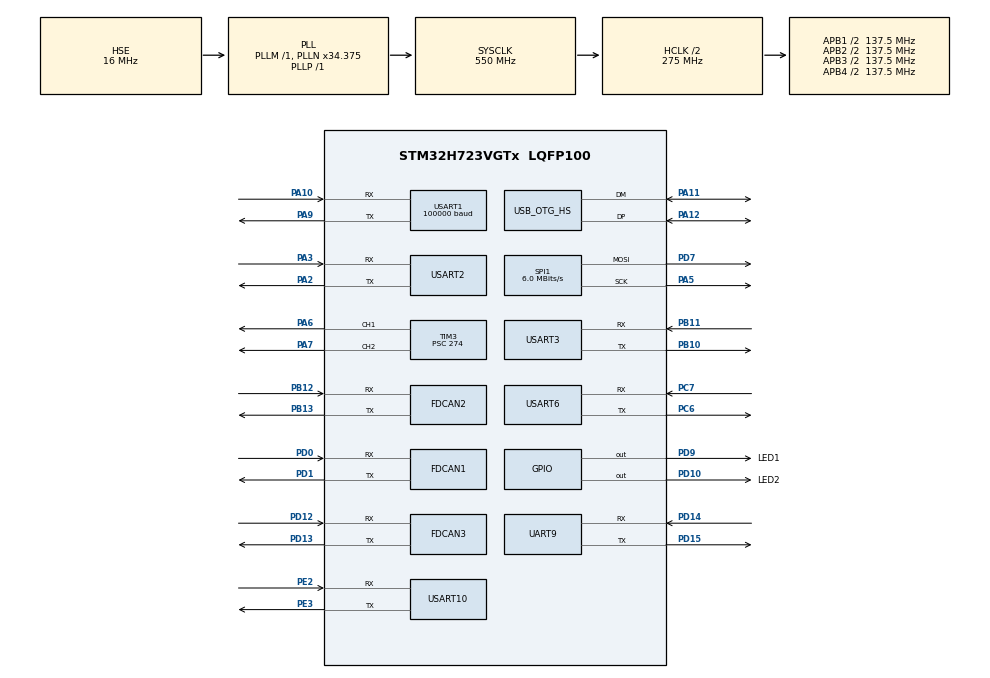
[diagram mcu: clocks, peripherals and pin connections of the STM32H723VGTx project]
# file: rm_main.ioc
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CORTEX_M7.AccessPermission-Cortex_Memory_Protection_Unit_Region0_Settings=MPU_REGION_FULL_ACCESS
CORTEX_M7.BaseAddress-Cortex_Memory_Protection_Unit_Region0_Settings=0x24000000
CORTEX_M7.CPU_DCache=Disabled
CORTEX_M7.CPU_ICache=Disabled
CORTEX_M7.Enable-Cortex_Memory_Protection_Unit_Region0_Settings=MPU_REGION_ENABLE
CORTEX_M7.IsBufferable-Cortex_Memory_Protection_Unit_Region0_Settings=MPU_ACCESS_NOT_BUFFERABLE
CORTEX_M7.IsCacheable-Cortex_Memory_Protection_Unit_Region0_Settings=MPU_ACCESS_CACHEABLE
CORTEX_M7.MPU_Control=__NULL
CORTEX_M7.Size-Cortex_Memory_Protection_Unit_Region0_Settings=MPU_REGION_SIZE_512KB
CORTEX_M7.TypeExtField-Cortex_Memory_Protection_Unit_Region0_Settings=MPU_TEX_LEVEL1
Dma.Request0=USART2_RX
Dma.Request1=USART2_TX
Dma.Request10=SPI1_TX
Dma.Request2=USART1_RX
Dma.Request3=USART1_TX
Dma.Request4=USART6_TX
Dma.Request5=USART3_RX
Dma.Request6=USART3_TX
Dma.Request7=USART6_RX
Dma.Request8=USART10_RX
Dma.Request9=USART10_TX
Dma.SPI1_TX.10.Direction=DMA_MEMORY_TO_PERIPH
Dma.SPI1_TX.10.EventEnable=DISABLE
Dma.SPI1_TX.10.FIFOMode=DMA_FIFOMODE_DISABLE
Dma.SPI1_TX.10.Instance=DMA2_Stream2
Dma.SPI1_TX.10.MemDataAlignment=DMA_MDATAALIGN_BYTE
Dma.SPI1_TX.10.MemInc=DMA_MINC_ENABLE
Dma.SPI1_TX.10.Mode=DMA_NORMAL
Dma.SPI1_TX.10.PeriphDataAlignment=DMA_PDATAALIGN_BYTE
Dma.SPI1_TX.10.PeriphInc=DMA_PINC_DISABLE
Dma.SPI1_TX.10.Polarity=HAL_DMAMUX_REQ_GEN_RISING
Dma.SPI1_TX.10.Priority=DMA_PRIORITY_LOW
Dma.SPI1_TX.10.RequestNumber=1
Dma.SPI1_TX.10.SignalID=NONE
Dma.SPI1_TX.10.SyncEnable=DISABLE
Dma.SPI1_TX.10.SyncPolarity=HAL_DMAMUX_SYNC_NO_EVENT
Dma.SPI1_TX.10.SyncRequestNumber=1
Dma.SPI1_TX.10.SyncSignalID=NONE
Dma.USART10_RX.8.Direction=DMA_PERIPH_TO_MEMORY
Dma.USART10_RX.8.EventEnable=DISABLE
Dma.USART10_RX.8.FIFOMode=DMA_FIFOMODE_DISABLE
Dma.USART10_RX.8.Instance=DMA2_Stream0
Dma.USART10_RX.8.MemDataAlignment=DMA_MDATAALIGN_BYTE
Dma.USART10_RX.8.MemInc=DMA_MINC_ENABLE
Dma.USART10_RX.8.Mode=DMA_CIRCULAR
Dma.USART10_RX.8.PeriphDataAlignment=DMA_PDATAALIGN_BYTE
Dma.USART10_RX.8.PeriphInc=DMA_PINC_DISABLE
Dma.USART10_RX.8.Polarity=HAL_DMAMUX_REQ_GEN_RISING
Dma.USART10_RX.8.Priority=DMA_PRIORITY_LOW
Dma.USART10_RX.8.RequestNumber=1
Dma.USART10_RX.8.SignalID=NONE
Dma.USART10_RX.8.SyncEnable=DISABLE
Dma.USART10_RX.8.SyncPolarity=HAL_DMAMUX_SYNC_NO_EVENT
Dma.USART10_RX.8.SyncRequestNumber=1
Dma.USART10_RX.8.SyncSignalID=NONE
Dma.USART10_TX.9.Direction=DMA_MEMORY_TO_PERIPH
Dma.USART10_TX.9.EventEnable=DISABLE
Dma.USART10_TX.9.FIFOMode=DMA_FIFOMODE_DISABLE
Dma.USART10_TX.9.Instance=DMA2_Stream1
Dma.USART10_TX.9.MemDataAlignment=DMA_MDATAALIGN_BYTE
Dma.USART10_TX.9.MemInc=DMA_MINC_ENABLE
Dma.USART10_TX.9.Mode=DMA_NORMAL
Dma.USART10_TX.9.PeriphDataAlignment=DMA_PDATAALIGN_BYTE
Dma.USART10_TX.9.PeriphInc=DMA_PINC_DISABLE
Dma.USART10_TX.9.Polarity=HAL_DMAMUX_REQ_GEN_RISING
Dma.USART10_TX.9.Priority=DMA_PRIORITY_LOW
Dma.USART10_TX.9.RequestNumber=1
Dma.USART10_TX.9.SignalID=NONE
Dma.USART10_TX.9.SyncEnable=DISABLE
Dma.USART10_TX.9.SyncPolarity=HAL_DMAMUX_SYNC_NO_EVENT
Dma.USART10_TX.9.SyncRequestNumber=1
Dma.USART10_TX.9.SyncSignalID=NONE
Dma.USART1_RX.2.Direction=DMA_PERIPH_TO_MEMORY
Dma.USART1_RX.2.EventEnable=DISABLE
Dma.USART1_RX.2.FIFOMode=DMA_FIFOMODE_DISABLE
Dma.USART1_RX.2.Instance=DMA1_Stream2
Dma.USART1_RX.2.MemDataAlignment=DMA_MDATAALIGN_BYTE
Dma.USART1_RX.2.MemInc=DMA_MINC_ENABLE
Dma.USART1_RX.2.Mode=DMA_CIRCULAR
Dma.USART1_RX.2.PeriphDataAlignment=DMA_PDATAALIGN_BYTE
Dma.USART1_RX.2.PeriphInc=DMA_PINC_DISABLE
Dma.USART1_RX.2.Polarity=HAL_DMAMUX_REQ_GEN_RISING
Dma.USART1_RX.2.Priority=DMA_PRIORITY_LOW
Dma.USART1_RX.2.RequestNumber=1
Dma.USART1_RX.2.SignalID=NONE
Dma.USART1_RX.2.SyncEnable=DISABLE
Dma.USART1_RX.2.SyncPolarity=HAL_DMAMUX_SYNC_NO_EVENT
Dma.USART1_RX.2.SyncRequestNumber=1
Dma.USART1_RX.2.SyncSignalID=NONE
Dma.USART1_TX.3.Direction=DMA_MEMORY_TO_PERIPH
Dma.USART1_TX.3.EventEnable=DISABLE
Dma.USART1_TX.3.FIFOMode=DMA_FIFOMODE_DISABLE
Dma.USART1_TX.3.Instance=DMA1_Stream3
Dma.USART1_TX.3.MemDataAlignment=DMA_MDATAALIGN_BYTE
Dma.USART1_TX.3.MemInc=DMA_MINC_ENABLE
Dma.USART1_TX.3.Mode=DMA_NORMAL
Dma.USART1_TX.3.PeriphDataAlignment=DMA_PDATAALIGN_BYTE
Dma.USART1_TX.3.PeriphInc=DMA_PINC_DISABLE
Dma.USART1_TX.3.Polarity=HAL_DMAMUX_REQ_GEN_RISING
Dma.USART1_TX.3.Priority=DMA_PRIORITY_LOW
Dma.USART1_TX.3.RequestNumber=1
Dma.USART1_TX.3.SignalID=NONE
Dma.USART1_TX.3.SyncEnable=DISABLE
Dma.USART1_TX.3.SyncPolarity=HAL_DMAMUX_SYNC_NO_EVENT
Dma.USART1_TX.3.SyncRequestNumber=1
Dma.USART1_TX.3.SyncSignalID=NONE
Dma.USART2_RX.0.Direction=DMA_PERIPH_TO_MEMORY
Dma.USART2_RX.0.EventEnable=DISABLE
Dma.USART2_RX.0.FIFOMode=DMA_FIFOMODE_DISABLE
Dma.USART2_RX.0.Instance=DMA1_Stream0
Dma.USART2_RX.0.MemDataAlignment=DMA_MDATAALIGN_BYTE
Dma.USART2_RX.0.MemInc=DMA_MINC_ENABLE
Dma.USART2_RX.0.Mode=DMA_CIRCULAR
Dma.USART2_RX.0.PeriphDataAlignment=DMA_PDATAALIGN_BYTE
Dma.USART2_RX.0.PeriphInc=DMA_PINC_DISABLE
Dma.USART2_RX.0.Polarity=HAL_DMAMUX_REQ_GEN_RISING
Dma.USART2_RX.0.Priority=DMA_PRIORITY_LOW
Dma.USART2_RX.0.RequestNumber=1
Dma.USART2_RX.0.SignalID=NONE
Dma.USART2_RX.0.SyncEnable=DISABLE
Dma.USART2_RX.0.SyncPolarity=HAL_DMAMUX_SYNC_NO_EVENT
Dma.USART2_RX.0.SyncRequestNumber=1
Dma.USART2_RX.0.SyncSignalID=NONE
Dma.USART2_TX.1.Direction=DMA_MEMORY_TO_PERIPH
Dma.USART2_TX.1.EventEnable=DISABLE
Dma.USART2_TX.1.FIFOMode=DMA_FIFOMODE_DISABLE
Dma.USART2_TX.1.Instance=DMA1_Stream1
Dma.USART2_TX.1.MemDataAlignment=DMA_MDATAALIGN_BYTE
Dma.USART2_TX.1.MemInc=DMA_MINC_ENABLE
Dma.USART2_TX.1.Mode=DMA_NORMAL
Dma.USART2_TX.1.PeriphDataAlignment=DMA_PDATAALIGN_BYTE
Dma.USART2_TX.1.PeriphInc=DMA_PINC_DISABLE
Dma.USART2_TX.1.Polarity=HAL_DMAMUX_REQ_GEN_RISING
Dma.USART2_TX.1.Priority=DMA_PRIORITY_LOW
Dma.USART2_TX.1.RequestNumber=1
Dma.USART2_TX.1.SignalID=NONE
Dma.USART2_TX.1.SyncEnable=DISABLE
Dma.USART2_TX.1.SyncPolarity=HAL_DMAMUX_SYNC_NO_EVENT
Dma.USART2_TX.1.SyncRequestNumber=1
Dma.USART2_TX.1.SyncSignalID=NONE
Dma.USART3_RX.5.Direction=DMA_PERIPH_TO_MEMORY
Dma.USART3_RX.5.EventEnable=DISABLE
Dma.USART3_RX.5.FIFOMode=DMA_FIFOMODE_DISABLE
Dma.USART3_RX.5.Instance=DMA1_Stream5
Dma.USART3_RX.5.MemDataAlignment=DMA_MDATAALIGN_BYTE
Dma.USART3_RX.5.MemInc=DMA_MINC_ENABLE
Dma.USART3_RX.5.Mode=DMA_CIRCULAR
Dma.USART3_RX.5.PeriphDataAlignment=DMA_PDATAALIGN_BYTE
Dma.USART3_RX.5.PeriphInc=DMA_PINC_DISABLE
Dma.USART3_RX.5.Polarity=HAL_DMAMUX_REQ_GEN_RISING
Dma.USART3_RX.5.Priority=DMA_PRIORITY_LOW
Dma.USART3_RX.5.RequestNumber=1
Dma.USART3_RX.5.SignalID=NONE
Dma.USART3_RX.5.SyncEnable=DISABLE
Dma.USART3_RX.5.SyncPolarity=HAL_DMAMUX_SYNC_NO_EVENT
Dma.USART3_RX.5.SyncRequestNumber=1
Dma.USART3_RX.5.SyncSignalID=NONE
Dma.USART3_TX.6.Direction=DMA_MEMORY_TO_PERIPH
Dma.USART3_TX.6.EventEnable=DISABLE
Dma.USART3_TX.6.FIFOMode=DMA_FIFOMODE_DISABLE
Dma.USART3_TX.6.Instance=DMA1_Stream6
Dma.USART3_TX.6.MemDataAlignment=DMA_MDATAALIGN_BYTE
Dma.USART3_TX.6.MemInc=DMA_MINC_ENABLE
Dma.USART3_TX.6.Mode=DMA_NORMAL
Dma.USART3_TX.6.PeriphDataAlignment=DMA_PDATAALIGN_BYTE
Dma.USART3_TX.6.PeriphInc=DMA_PINC_DISABLE
Dma.USART3_TX.6.Polarity=HAL_DMAMUX_REQ_GEN_RISING
Dma.USART3_TX.6.Priority=DMA_PRIORITY_LOW
Dma.USART3_TX.6.RequestNumber=1
Dma.USART3_TX.6.SignalID=NONE
Dma.USART3_TX.6.SyncEnable=DISABLE
Dma.USART3_TX.6.SyncPolarity=HAL_DMAMUX_SYNC_NO_EVENT
Dma.USART3_TX.6.SyncRequestNumber=1
Dma.USART3_TX.6.SyncSignalID=NONE
Dma.USART6_RX.7.Direction=DMA_PERIPH_TO_MEMORY
Dma.USART6_RX.7.EventEnable=DISABLE
Dma.USART6_RX.7.FIFOMode=DMA_FIFOMODE_DISABLE
Dma.USART6_RX.7.Instance=DMA1_Stream7
Dma.USART6_RX.7.MemDataAlignment=DMA_MDATAALIGN_BYTE
Dma.USART6_RX.7.MemInc=DMA_MINC_ENABLE
Dma.USART6_RX.7.Mode=DMA_CIRCULAR
Dma.USART6_RX.7.PeriphDataAlignment=DMA_PDATAALIGN_BYTE
Dma.USART6_RX.7.PeriphInc=DMA_PINC_DISABLE
Dma.USART6_RX.7.Polarity=HAL_DMAMUX_REQ_GEN_RISING
Dma.USART6_RX.7.Priority=DMA_PRIORITY_LOW
Dma.USART6_RX.7.RequestNumber=1
Dma.USART6_RX.7.SignalID=NONE
Dma.USART6_RX.7.SyncEnable=DISABLE
Dma.USART6_RX.7.SyncPolarity=HAL_DMAMUX_SYNC_NO_EVENT
Dma.USART6_RX.7.SyncRequestNumber=1
Dma.USART6_RX.7.SyncSignalID=NONE
Dma.USART6_TX.4.Direction=DMA_MEMORY_TO_PERIPH
Dma.USART6_TX.4.EventEnable=DISABLE
Dma.USART6_TX.4.FIFOMode=DMA_FIFOMODE_DISABLE
Dma.USART6_TX.4.Instance=DMA1_Stream4
Dma.USART6_TX.4.MemDataAlignment=DMA_MDATAALIGN_BYTE
Dma.USART6_TX.4.MemInc=DMA_MINC_ENABLE
Dma.USART6_TX.4.Mode=DMA_NORMAL
Dma.USART6_TX.4.PeriphDataAlignment=DMA_PDATAALIGN_BYTE
Dma.USART6_TX.4.PeriphInc=DMA_PINC_DISABLE
Dma.USART6_TX.4.Polarity=HAL_DMAMUX_REQ_GEN_RISING
Dma.USART6_TX.4.Priority=DMA_PRIORITY_LOW
Dma.USART6_TX.4.RequestNumber=1
Dma.USART6_TX.4.SignalID=NONE
Dma.USART6_TX.4.SyncEnable=DISABLE
Dma.USART6_TX.4.SyncPolarity=HAL_DMAMUX_SYNC_NO_EVENT
Dma.USART6_TX.4.SyncRequestNumber=1
Dma.USART6_TX.4.SyncSignalID=NONE
FDCAN1.AutoRetransmission=ENABLE
FDCAN1.CalculateBaudRateNominal=1000000
FDCAN1.CalculateTimeBitNominal=1000
FDCAN1.CalculateTimeQuantumNominal=83.33333333333333
FDCAN1.DataSyncJumpWidth=1
FDCAN1.DataTimeSeg1=13
FDCAN1.DataTimeSeg2=2
FDCAN1.Mode=FDCAN_MODE_NORMAL
FDCAN1.NominalPrescaler=8
FDCAN1.NominalSyncJumpWidth=1
FDCAN1.NominalTimeSeg1=8
FDCAN1.NominalTimeSeg2=3
FDCAN1.ProtocolException=ENABLE
FDCAN1.RxFifo0ElmtsNbr=64
FDCAN1.RxFifo1ElmtsNbr=64
FDCAN1.StdFiltersNbr=5
FDCAN1.TxFifoQueueElmtsNbr=32
FDCAN2.AutoRetransmission=ENABLE
FDCAN2.CalculateBaudRateNominal=1000000
FDCAN2.CalculateTimeBitNominal=1000
FDCAN2.CalculateTimeQuantumNominal=83.33333333333333
FDCAN2.ClockCalibrationCCU=DISABLE
FDCAN2.DataTimeSeg1=13
FDCAN2.DataTimeSeg2=2
FDCAN2.FrameFormat=FDCAN_FRAME_CLASSIC
FDCAN2.MessageRAMOffset=850
FDCAN2.NominalPrescaler=8
FDCAN2.NominalTimeSeg1=8
FDCAN2.NominalTimeSeg2=3
FDCAN2.ProtocolException=ENABLE
FDCAN2.RxFifo0ElmtsNbr=64
FDCAN2.RxFifo1ElmtsNbr=64
FDCAN2.StdFiltersNbr=5
FDCAN2.TxFifoQueueElmtsNbr=32
FDCAN3.AutoRetransmission=DISABLE
FDCAN3.CalculateBaudRateNominal=1000000
FDCAN3.CalculateTimeBitNominal=1000
FDCAN3.CalculateTimeQuantumNominal=83.33333333333333
FDCAN3.DataTimeSeg1=13
FDCAN3.DataTimeSeg2=2
FDCAN3.MessageRAMOffset=1700
FDCAN3.Mode=FDCAN_MODE_NORMAL
FDCAN3.NominalPrescaler=8
FDCAN3.NominalTimeSeg1=8
FDCAN3.NominalTimeSeg2=3
FDCAN3.ProtocolException=ENABLE
FDCAN3.RxFifo0ElmtsNbr=64
FDCAN3.RxFifo1ElmtsNbr=64
FDCAN3.StdFiltersNbr=5
FDCAN3.TxFifoQueueElmtsNbr=32
FREERTOS.INCLUDE_vTaskDelayUntil=1
FREERTOS.Tasks01=StartTask,0,128,start_task,As weak,NULL,Dynamic,NULL,NULL
FREERTOS.configENABLE_FPU=0
FREERTOS.configUSE_PREEMPTION=0
FREERTOS.configUSE_TIMERS=1
IWDG1.Prescaler=IWDG_PRESCALER_32
IWDG1.Reload=500
IWDG1.Window=500
Mcu.Family=STM32H7
Mcu.Name=STM32H723VGTx
Mcu.Package=LQFP100
NVIC.DMA1_Stream0_IRQn=true\:5\:0\:false\:false\:true\:true\:false\:true\:true
NVIC.DMA1_Stream1_IRQn=true\:5\:0\:false\:false\:true\:true\:false\:true\:true
NVIC.DMA1_Stream2_IRQn=true\:5\:0\:false\:false\:true\:true\:false\:true\:true
NVIC.DMA1_Stream3_IRQn=true\:5\:0\:false\:false\:true\:true\:false\:true\:true
NVIC.DMA1_Stream4_IRQn=true\:5\:0\:false\:false\:true\:true\:false\:true\:true
NVIC.DMA1_Stream5_IRQn=true\:5\:0\:false\:false\:true\:true\:false\:true\:true
NVIC.DMA1_Stream6_IRQn=true\:5\:0\:false\:false\:true\:true\:false\:true\:true
NVIC.DMA1_Stream7_IRQn=true\:5\:0\:false\:false\:true\:true\:false\:true\:true
NVIC.DMA2_Stream0_IRQn=true\:5\:0\:false\:false\:true\:true\:false\:true\:true
NVIC.DMA2_Stream1_IRQn=true\:5\:0\:false\:false\:true\:true\:false\:true\:true
NVIC.DMA2_Stream2_IRQn=true\:5\:0\:false\:false\:true\:true\:false\:true\:true
NVIC.FDCAN1_IT0_IRQn=true\:5\:0\:false\:false\:true\:true\:true\:true\:true
NVIC.FDCAN2_IT0_IRQn=true\:5\:0\:false\:false\:true\:true\:true\:true\:true
NVIC.FDCAN3_IT0_IRQn=true\:5\:0\:false\:false\:true\:true\:true\:true\:true
NVIC.OTG_HS_EP1_IN_IRQn=true\:5\:0\:false\:false\:true\:true\:true\:true\:true
NVIC.OTG_HS_EP1_OUT_IRQn=true\:5\:0\:false\:false\:true\:true\:true\:true\:true
NVIC.OTG_HS_IRQn=true\:5\:0\:false\:false\:true\:true\:true\:true\:true
NVIC.PriorityGroup=NVIC_PRIORITYGROUP_4
NVIC.SPI1_IRQn=true\:5\:0\:false\:false\:true\:true\:false\:true\:true
NVIC.TIM1_UP_IRQn=true\:0\:0\:false\:false\:true\:false\:false\:true\:true
NVIC.TIM2_IRQn=true\:5\:0\:false\:false\:true\:true\:true\:true\:true
NVIC.TimeBase=TIM1_UP_IRQn
NVIC.TimeBaseIP=TIM1
NVIC.USART10_IRQn=true\:5\:0\:false\:false\:true\:true\:true\:true\:true
NVIC.USART1_IRQn=true\:5\:0\:false\:false\:true\:true\:true\:true\:true
NVIC.USART2_IRQn=true\:5\:0\:false\:false\:true\:true\:true\:true\:true
NVIC.USART3_IRQn=true\:5\:0\:false\:false\:true\:true\:true\:true\:true
NVIC.USART6_IRQn=true\:5\:0\:false\:false\:true\:true\:true\:true\:true
PA10.Mode=Asynchronous
PA10.Signal=USART1_RX
PA11.Mode=Device_Only_FS
PA11.Signal=USB_OTG_HS_DM
PA12.Mode=Device_Only_FS
PA12.Signal=USB_OTG_HS_DP
PA13(JTMS/SWDIO).Mode=Serial_Wire
PA13(JTMS/SWDIO).Signal=DEBUG_JTMS-SWDIO
PA14(JTCK/SWCLK).Mode=Serial_Wire
PA14(JTCK/SWCLK).Signal=DEBUG_JTCK-SWCLK
PA2.Mode=Asynchronous
PA2.Signal=USART2_TX
PA3.Mode=Asynchronous
PA3.Signal=USART2_RX
PA5.Mode=TX_Only_Simplex_Unidirect_Master
PA5.Signal=SPI1_SCK
PA6.Signal=S_TIM3_CH1
PA7.Signal=S_TIM3_CH2
PA9.Mode=Asynchronous
PA9.Signal=USART1_TX
PB10.Mode=Asynchronous
PB10.Signal=USART3_TX
PB11.Mode=Asynchronous
PB11.Signal=USART3_RX
PB12.Mode=FDCAN_Activate
PB12.Signal=FDCAN2_RX
PB13.Mode=FDCAN_Activate
PB13.Signal=FDCAN2_TX
PC6.Mode=Asynchronous
PC6.Signal=USART6_TX
PC7.Mode=Asynchronous
PC7.Signal=USART6_RX
PD0.Mode=FDCAN_Activate
PD0.Signal=FDCAN1_RX
PD1.Mode=FDCAN_Activate
PD1.Signal=FDCAN1_TX
PD10.GPIO_Label=LED2
PD10.Signal=GPIO_Output
PD12.Mode=FDCAN_Activate
PD12.Signal=FDCAN3_RX
PD13.Mode=FDCAN_Activate
PD13.Signal=FDCAN3_TX
PD14.Mode=Asynchronous
PD14.Signal=UART9_RX
PD15.Mode=Asynchronous
PD15.Signal=UART9_TX
PD7.Mode=TX_Only_Simplex_Unidirect_Master
PD7.Signal=SPI1_MOSI
PD9.GPIO_Label=LED1
PD9.GPIO_PuPd=GPIO_PULLDOWN
PD9.Signal=GPIO_Output
PE2.Mode=Asynchronous
PE2.Signal=USART10_RX
PE3.Mode=Asynchronous
PE3.Signal=USART10_TX
PH0-OSC_IN.Mode=HSE-External-Oscillator
PH0-OSC_IN.Signal=RCC_OSC_IN
PH1-OSC_OUT.Mode=HSE-External-Oscillator
PH1-OSC_OUT.Signal=RCC_OSC_OUT
ProjectManager.HeapSize=0x1000
ProjectManager.StackSize=0x2000
ProjectManager.TargetToolchain=MDK-ARM V5.27
RCC.ADCFreq_Value=96000000
RCC.APB1Freq_Value=137500000
RCC.APB2Freq_Value=137500000
RCC.APB3Freq_Value=137500000
RCC.APB4Freq_Value=137500000
RCC.CortexFreq_Value=550000000
RCC.D1PPRE=RCC_APB3_DIV2
RCC.D2PPRE1=RCC_APB1_DIV2
RCC.D2PPRE2=RCC_APB2_DIV2
RCC.D3PPRE=RCC_APB4_DIV2
RCC.DIVM1=1
RCC.DIVM2=1
RCC.DIVN1=34
RCC.DIVN2=12
RCC.DIVP1=1
RCC.DIVQ1=55
RCC.DIVR1=1
RCC.EnbaleCSS=true
RCC.FDCANCLockSelection=RCC_FDCANCLKSOURCE_PLL2
RCC.HCLKFreq_Value=275000000
RCC.HPRE=RCC_HCLK_DIV2
RCC.HSE_VALUE=16000000
RCC.PLL2FRACN=0
RCC.PLL3FRACN=0
RCC.PLLFRACN=3072
RCC.PLLSourceVirtual=RCC_PLLSOURCE_HSE
RCC.SPI123CLockSelection=RCC_SPI123CLKSOURCE_PLL2
RCC.SYSCLKFreq_VALUE=550000000
RCC.SYSCLKSource=RCC_SYSCLKSOURCE_PLLCLK
RCC.USBCLockSelection=RCC_USBCLKSOURCE_HSI48
RCC.USBFreq_Value=48000000
SH.S_TIM3_CH1.0=TIM3_CH1,PWM Generation1 CH1
SH.S_TIM3_CH2.0=TIM3_CH2,PWM Generation2 CH2
SPI1.BaudRatePrescaler=SPI_BAUDRATEPRESCALER_16
SPI1.CLKPhase=SPI_PHASE_2EDGE
SPI1.CalculateBaudRate=6.0 MBits/s
SPI1.DataSize=SPI_DATASIZE_8BIT
SPI1.Direction=SPI_DIRECTION_2LINES_TXONLY
SPI1.Mode=SPI_MODE_MASTER
SPI1.VirtualType=VM_MASTER
TIM2.Period=0xFFFFFFFF
TIM2.Prescaler=10
TIM3.Channel-PWM\ Generation1\ CH1=TIM_CHANNEL_1
TIM3.Channel-PWM\ Generation2\ CH2=TIM_CHANNEL_2
TIM3.Period=19999
TIM3.Prescaler=274
USART1.BaudRate=100000
USART1.Parity=PARITY_EVEN
USART1.VirtualMode-Asynchronous=VM_ASYNC
USART1.WordLength=WORDLENGTH_9B
USART10.VirtualMode=VM_ASYNC
USART2.AutoBaudRateEnableParam=UART_ADVFEATURE_AUTOBAUDRATE_DISABLE
USART2.VirtualMode-Asynchronous=VM_ASYNC
USART3.VirtualMode-Asynchronous=VM_ASYNC
USART6.VirtualMode=VM_ASYNC
USB_DEVICE.APP_RX_DATA_SIZE=2048
USB_DEVICE.APP_TX_DATA_SIZE=2048
USB_DEVICE.CLASS_NAME_HS=CDC
USB_DEVICE.USBD_DEBUG_LEVEL=0
USB_DEVICE.USBD_LPM_ENABLED=1
USB_DEVICE.USBD_SELF_POWERED=1
USB_DEVICE.VirtualMode=Cdc
USB_DEVICE.VirtualModeHS=Cdc_HS
USB_OTG_HS.VirtualMode-Device_Only_FS=Device_Only_FS
USB_OTG_HS.dma_enable-Device_Only_FS=ENABLE
USB_OTG_HS.lpm_enable-Device_Only_FS=DISABLE
VP_FREERTOS_VS_CMSIS_V1.Mode=CMSIS_V1
VP_IWDG1_VS_IWDG.Mode=IWDG_Activate
VP_RNG_VS_RNG.Mode=RNG_Activate
VP_SYS_VS_tim1.Mode=TIM1
VP_TIM2_VS_ClockSourceINT.Mode=Internal
VP_USB_DEVICE_VS_USB_DEVICE_CDC_HS.Mode=CDC_HS
board=custom

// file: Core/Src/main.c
/* USER CODE BEGIN Header */
/**
  ******************************************************************************
  * @file           : main.c
  * @brief          : Main program body
  ******************************************************************************
  * @attention
  *
  * <h2><center>&copy; Copyright (c) 2024 STMicroelectronics.
  * All rights reserved.</center></h2>
  *
  * This software component is licensed by ST under Ultimate Liberty license
  * SLA0044, the "License"; You may not use this file except in compliance with
  * the License. You may obtain a copy of the License at:
  *                             www.st.com/SLA0044
  *
  ******************************************************************************
  */
/* USER CODE END Header */
#include "main.h"
#include "cmsis_os.h"
#include "dma.h"
#include "fdcan.h"
#include "iwdg.h"
#include "rng.h"
#include "spi.h"
#include "tim.h"
#include "usart.h"
#include "usb_device.h"
#include "gpio.h"

/* USER CODE BEGIN Includes */
#include "us_time.h"
#include "data_log.h"
#include "can_comm.h"
#include "usart_comm.h"
/* USER CODE END Includes */

void SystemClock_Config(void);
void PeriphCommonClock_Config(void);
void MX_FREERTOS_Init(void);
/* USER CODE BEGIN PFP */
void USB_Reset(void);
/* USER CODE END PFP */

int main(void)
{

  /* MCU Configuration--------------------------------------------------------*/

  /* Reset of all peripherals, Initializes the Flash interface and the Systick. */
  HAL_Init();

  /* Configure the system clock */
  SystemClock_Config();

/* Configure the peripherals common clocks */
  PeriphCommonClock_Config();

  /* USER CODE BEGIN SysInit */
//	USB_Reset();//USB复位，让电脑重新识别
  /* USER CODE END SysInit */

  /* Initialize all configured peripherals */
  MX_GPIO_Init();
  MX_DMA_Init();
  MX_USART2_UART_Init();
  MX_USART1_UART_Init();
  MX_RNG_Init();
  MX_TIM2_Init();
  MX_FDCAN3_Init();
  MX_UART9_Init();
  MX_USART3_UART_Init();
  MX_USART6_UART_Init();
  MX_USART10_UART_Init();
  MX_FDCAN1_Init();
  MX_FDCAN2_Init();
  MX_TIM3_Init();
  MX_SPI1_Init();
  MX_IWDG1_Init();
  /* USER CODE BEGIN 2 */
  HAL_Delay(300);
  HAL_IWDG_Refresh(&hiwdg1);
  HAL_Delay(300);
  HAL_IWDG_Refresh(&hiwdg1);
  HAL_Delay(300);
  HAL_IWDG_Refresh(&hiwdg1);
  HAL_Delay(300);
  HAL_IWDG_Refresh(&hiwdg1);
  HAL_Delay(300);
  HAL_IWDG_Refresh(&hiwdg1);
  us_timer_start();
  usart_comm_init();
  can_comm_init();
  /* USER CODE END 2 */

  /* Call init function for freertos objects (in freertos.c) */
  MX_FREERTOS_Init();

  /* Start scheduler */
  osKernelStart();

  /* We should never get here as control is now taken by the scheduler */
  /* Infinite loop */
  while (1)
  {

  }
}

void SystemClock_Config(void)
{
  RCC_OscInitTypeDef RCC_OscInitStruct = {0};
  RCC_ClkInitTypeDef RCC_ClkInitStruct = {0};

  /** Supply configuration update enable
  */
  HAL_PWREx_ConfigSupply(PWR_LDO_SUPPLY);

  /** Configure the main internal regulator output voltage
  */
  __HAL_PWR_VOLTAGESCALING_CONFIG(PWR_REGULATOR_VOLTAGE_SCALE0);

  while(!__HAL_PWR_GET_FLAG(PWR_FLAG_VOSRDY)) {}

  /** Initializes the RCC Oscillators according to the specified parameters
  * in the RCC_OscInitTypeDef structure.
  */
  RCC_OscInitStruct.OscillatorType = RCC_OSCILLATORTYPE_HSI48|RCC_OSCILLATORTYPE_LSI
                              |RCC_OSCILLATORTYPE_HSE;
  RCC_OscInitStruct.HSEState = RCC_HSE_ON;
  RCC_OscInitStruct.LSIState = RCC_LSI_ON;
  RCC_OscInitStruct.HSI48State = RCC_HSI48_ON;
  RCC_OscInitStruct.PLL.PLLState = RCC_PLL_ON;
  RCC_OscInitStruct.PLL.PLLSource = RCC_PLLSOURCE_HSE;
  RCC_OscInitStruct.PLL.PLLM = 1;
  RCC_OscInitStruct.PLL.PLLN = 34;
  RCC_OscInitStruct.PLL.PLLP = 1;
  RCC_OscInitStruct.PLL.PLLQ = 55;
  RCC_OscInitStruct.PLL.PLLR = 1;
  RCC_OscInitStruct.PLL.PLLRGE = RCC_PLL1VCIRANGE_3;
  RCC_OscInitStruct.PLL.PLLVCOSEL = RCC_PLL1VCOWIDE;
  RCC_OscInitStruct.PLL.PLLFRACN = 3072;
  if (HAL_RCC_OscConfig(&RCC_OscInitStruct) != HAL_OK)
  {
    Error_Handler();
  }

  /** Initializes the CPU, AHB and APB buses clocks
  */
  RCC_ClkInitStruct.ClockType = RCC_CLOCKTYPE_HCLK|RCC_CLOCKTYPE_SYSCLK
                              |RCC_CLOCKTYPE_PCLK1|RCC_CLOCKTYPE_PCLK2
                              |RCC_CLOCKTYPE_D3PCLK1|RCC_CLOCKTYPE_D1PCLK1;
  RCC_ClkInitStruct.SYSCLKSource = RCC_SYSCLKSOURCE_PLLCLK;
  RCC_ClkInitStruct.SYSCLKDivider = RCC_SYSCLK_DIV1;
  RCC_ClkInitStruct.AHBCLKDivider = RCC_HCLK_DIV2;
  RCC_ClkInitStruct.APB3CLKDivider = RCC_APB3_DIV2;
  RCC_ClkInitStruct.APB1CLKDivider = RCC_APB1_DIV2;
  RCC_ClkInitStruct.APB2CLKDivider = RCC_APB2_DIV2;
  RCC_ClkInitStruct.APB4CLKDivider = RCC_APB4_DIV2;

  if (HAL_RCC_ClockConfig(&RCC_ClkInitStruct, FLASH_LATENCY_3) != HAL_OK)
  {
    Error_Handler();
  }

  /** Enables the Clock Security System
  */
  HAL_RCC_EnableCSS();
}

void PeriphCommonClock_Config(void)
{
  RCC_PeriphCLKInitTypeDef PeriphClkInitStruct = {0};

  /** Initializes the peripherals clock
  */
  PeriphClkInitStruct.PeriphClockSelection = RCC_PERIPHCLK_SPI1|RCC_PERIPHCLK_FDCAN;
  PeriphClkInitStruct.PLL2.PLL2M = 1;
  PeriphClkInitStruct.PLL2.PLL2N = 12;
  PeriphClkInitStruct.PLL2.PLL2P = 2;
  PeriphClkInitStruct.PLL2.PLL2Q = 2;
  PeriphClkInitStruct.PLL2.PLL2R = 2;
  PeriphClkInitStruct.PLL2.PLL2RGE = RCC_PLL2VCIRANGE_3;
  PeriphClkInitStruct.PLL2.PLL2VCOSEL = RCC_PLL2VCOWIDE;
  PeriphClkInitStruct.PLL2.PLL2FRACN = 0;
  PeriphClkInitStruct.Spi123ClockSelection = RCC_SPI123CLKSOURCE_PLL2;
  PeriphClkInitStruct.FdcanClockSelection = RCC_FDCANCLKSOURCE_PLL2;
  if (HAL_RCCEx_PeriphCLKConfig(&PeriphClkInitStruct) != HAL_OK)
  {
    Error_Handler();
  }
}

/* USER CODE BEGIN 4 */
void USB_Reset(void)
{
	GPIO_InitTypeDef GPIO_InitStruct = {0};
	__HAL_RCC_GPIOA_CLK_ENABLE();
	GPIO_InitStruct.Pin = GPIO_PIN_12;
	GPIO_InitStruct.Mode = GPIO_MODE_OUTPUT_PP;
	GPIO_InitStruct.Pull = GPIO_PULLDOWN;
	GPIO_InitStruct.Speed = GPIO_SPEED_FREQ_LOW;
	HAL_GPIO_Init(GPIOA, &GPIO_InitStruct);
	HAL_GPIO_WritePin(GPIOA, GPIO_PIN_12, GPIO_PIN_RESET);
	HAL_Delay(100);
	HAL_GPIO_WritePin(GPIOA, GPIO_PIN_12, GPIO_PIN_SET);
}
/* USER CODE END 4 */

void HAL_TIM_PeriodElapsedCallback(TIM_HandleTypeDef *htim)
{
  if (htim->Instance == TIM1) {
    HAL_IncTick();
  }
  /* USER CODE BEGIN Callback 1 */
	if (htim->Instance == TIM2)
	{
		prv_us_time.overflow_cnt++;
	}
  /* USER CODE END Callback 1 */
}

void Error_Handler(void)
{
  __disable_irq();
  while (1)
  {
  }
}

#ifdef  USE_FULL_ASSERT
/**
  * @brief  Reports the name of the source file and the source line number
  *         where the assert_param error has occurred.
  * @param  file: pointer to the source file name
  * @param  line: assert_param error line source number
  * @retval None
  */
void assert_failed(uint8_t *file, uint32_t line)
{
  /* USER CODE BEGIN 6 */
  /* User can add his own implementation to report the file name and line number,
     ex: printf("Wrong parameters value: file %s on line %d\r\n", file, line) */
    log_printf("[%s,%d]assert_failed!\r\n", file, line);
  /* USER CODE END 6 */
}
#endif /* USE_FULL_ASSERT */

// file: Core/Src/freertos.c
/* USER CODE BEGIN Header */
/**
  ******************************************************************************
  * File Name          : freertos.c
  * Description        : Code for freertos applications
  ******************************************************************************
  * @attention
  *
  * <h2><center>&copy; Copyright (c) 2024 STMicroelectronics.
  * All rights reserved.</center></h2>
  *
  * This software component is licensed by ST under Ultimate Liberty license
  * SLA0044, the "License"; You may not use this file except in compliance with
  * the License. You may obtain a copy of the License at:
  *                             www.st.com/SLA0044
  *
  ******************************************************************************
  */
/* USER CODE END Header */

#include "FreeRTOS.h"
#include "task.h"
#include "main.h"
#include "cmsis_os.h"

/* USER CODE BEGIN Includes */
#include "comm_task.h"
#include "mode_switch_task.h"
#include "status_task.h"
#include "gimbal_task.h"
#include "chassis_task.h"
#include "shoot_task.h"
#include "debug_task.h"
#include "ui_task.h"
#include "tim.h"

/* USER CODE END Includes */

/* USER CODE BEGIN Variables */
osThreadId CommTaskHandle;
osThreadId ModeSwitchTaskHandle;
osThreadId StatusTaskHandle;
osThreadId ChassisTaskHandle;
osThreadId GimbalTaskHandle;
osThreadId ShootTaskHandle;
osThreadId UITaskHandle;
osThreadId DebugTaskHandle;
/* USER CODE END Variables */
osThreadId StartTaskHandle;

void start_task(void const * argument);

extern void MX_USB_DEVICE_Init(void);
void MX_FREERTOS_Init(void); /* (MISRA C 2004 rule 8.1) */

/* GetIdleTaskMemory prototype (linked to static allocation support) */
void vApplicationGetIdleTaskMemory( StaticTask_t **ppxIdleTaskTCBBuffer, StackType_t **ppxIdleTaskStackBuffer, uint32_t *pulIdleTaskStackSize );

/* GetTimerTaskMemory prototype (linked to static allocation support) */
void vApplicationGetTimerTaskMemory( StaticTask_t **ppxTimerTaskTCBBuffer, StackType_t **ppxTimerTaskStackBuffer, uint32_t *pulTimerTaskStackSize );

/* USER CODE BEGIN GET_IDLE_TASK_MEMORY */
static StaticTask_t xIdleTaskTCBBuffer;
static StackType_t xIdleStack[configMINIMAL_STACK_SIZE];

void vApplicationGetIdleTaskMemory( StaticTask_t **ppxIdleTaskTCBBuffer, StackType_t **ppxIdleTaskStackBuffer, uint32_t *pulIdleTaskStackSize )
{
  *ppxIdleTaskTCBBuffer = &xIdleTaskTCBBuffer;
  *ppxIdleTaskStackBuffer = &xIdleStack[0];
  *pulIdleTaskStackSize = configMINIMAL_STACK_SIZE;
  /* place for user code */
}
/* USER CODE END GET_IDLE_TASK_MEMORY */

/* USER CODE BEGIN GET_TIMER_TASK_MEMORY */
static StaticTask_t xTimerTaskTCBBuffer;
static StackType_t xTimerStack[configTIMER_TASK_STACK_DEPTH];

void vApplicationGetTimerTaskMemory( StaticTask_t **ppxTimerTaskTCBBuffer, StackType_t **ppxTimerTaskStackBuffer, uint32_t *pulTimerTaskStackSize )
{
  *ppxTimerTaskTCBBuffer = &xTimerTaskTCBBuffer;
  *ppxTimerTaskStackBuffer = &xTimerStack[0];
  *pulTimerTaskStackSize = configTIMER_TASK_STACK_DEPTH;
  /* place for user code */
}
/* USER CODE END GET_TIMER_TASK_MEMORY */

void MX_FREERTOS_Init(void) {

  /* Create the thread(s) */
  /* definition and creation of StartTask */
  osThreadDef(StartTask, start_task, osPriorityNormal, 0, 128);
  StartTaskHandle = osThreadCreate(osThread(StartTask), NULL);

  /* USER CODE BEGIN RTOS_THREADS */
  /* add threads, ... */
  osThreadDef(CommTask, comm_task, osPriorityHigh, 0, 256);
  CommTaskHandle = osThreadCreate(osThread(CommTask), NULL);
  osThreadDef(ModeSwitchTask, mode_switch_task, osPriorityHigh, 0, 128);
  ModeSwitchTaskHandle = osThreadCreate(osThread(ModeSwitchTask), NULL);

  osThreadDef(ChassisTask, chassis_task, osPriorityNormal, 0, 512);
  ChassisTaskHandle = osThreadCreate(osThread(ChassisTask), NULL);
  osThreadDef(GimbalTask, gimbal_task, osPriorityNormal, 0, 256);
  ChassisTaskHandle = osThreadCreate(osThread(GimbalTask), NULL);
  osThreadDef(ShootTask, shoot_task, osPriorityNormal, 0, 128);
  ChassisTaskHandle = osThreadCreate(osThread(ShootTask), NULL);

  osThreadDef(DebugTask, debug_task, osPriorityLow, 0, 128);
  DebugTaskHandle = osThreadCreate(osThread(DebugTask), NULL);
  osThreadDef(STATUSTask, status_task, osPriorityLow, 0, 128);
  StatusTaskHandle = osThreadCreate(osThread(STATUSTask), NULL);
  osThreadDef(UITask, ui_task, osPriorityLow, 0, 512);
  DebugTaskHandle = osThreadCreate(osThread(UITask), NULL);
  /* USER CODE END RTOS_THREADS */

}

__weak void start_task(void const * argument)
{
  /* init code for USB_DEVICE */
  MX_USB_DEVICE_Init();
  /* USER CODE BEGIN start_task */

  /* Infinite loop */
  for(;;)
  {
      osDelay(100);
  }
  /* USER CODE END start_task */
}
